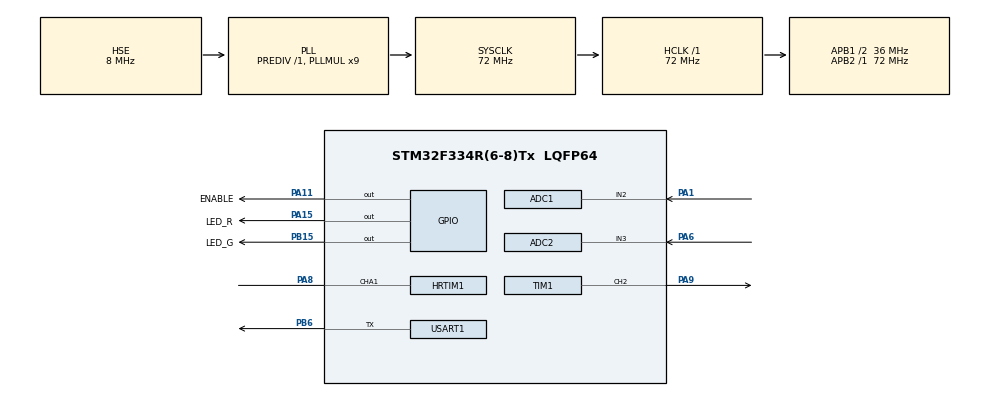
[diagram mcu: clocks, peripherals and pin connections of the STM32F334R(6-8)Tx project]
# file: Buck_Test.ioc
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ADC1.Channel-1\#ChannelRegularConversion=ADC_CHANNEL_2
ADC1.NbrOfConversionFlag=1
ADC1.SamplingTime-1\#ChannelRegularConversion=ADC_SAMPLETIME_181CYCLES_5
ADC1.SamplingTimeOPAMP-1\#ChannelRegularConversion=ADC_SAMPLETIME_61CYCLES_5
ADC1.SubFamily=STM32F334x8
ADC1.master=1
ADC2.Channel-0\#ChannelRegularConversion=ADC_CHANNEL_3
ADC2.ExternalTrigConv=ADC_EXTERNALTRIGCONVHRTIM_TRG1
ADC2.NbrOfConversionFlag=1
ADC2.Rank1_Channel=ADC_CHANNEL_3
ADC2.SamplingTime-0\#ChannelRegularConversion=ADC_SAMPLETIME_181CYCLES_5
ADC2.SubFamily=STM32F334x8
Dma.ADC2.0.Direction=DMA_PERIPH_TO_MEMORY
Dma.ADC2.0.Instance=DMA1_Channel2
Dma.ADC2.0.MemDataAlignment=DMA_MDATAALIGN_HALFWORD
Dma.ADC2.0.MemInc=DMA_MINC_ENABLE
Dma.ADC2.0.Mode=DMA_NORMAL
Dma.ADC2.0.PeriphDataAlignment=DMA_PDATAALIGN_HALFWORD
Dma.ADC2.0.PeriphInc=DMA_PINC_DISABLE
Dma.ADC2.0.Priority=DMA_PRIORITY_LOW
Dma.Request0=ADC2
Dma.Request1=USART1_TX
Dma.USART1_TX.1.Direction=DMA_MEMORY_TO_PERIPH
Dma.USART1_TX.1.Instance=DMA1_Channel4
Dma.USART1_TX.1.MemDataAlignment=DMA_MDATAALIGN_BYTE
Dma.USART1_TX.1.MemInc=DMA_MINC_ENABLE
Dma.USART1_TX.1.Mode=DMA_NORMAL
Dma.USART1_TX.1.PeriphDataAlignment=DMA_PDATAALIGN_BYTE
Dma.USART1_TX.1.PeriphInc=DMA_PINC_DISABLE
Dma.USART1_TX.1.Priority=DMA_PRIORITY_LOW
HRTIM1.ADCTrigger1_Source1=HRTIM_ADCTRIGGEREVENT13_TIMERA_CMP3
HRTIM1.ADCTrigger_Id1=HRTIM_ADCTRIGGER_1
HRTIM1.CompareUnit1-Output_TA1=HRTIM_COMPAREUNIT_1
HRTIM1.CompareUnit2-Output_TA1=__NULL
HRTIM1.CompareUnit3-Output_TA1=HRTIM_COMPAREUNIT_3
HRTIM1.CompareValue1-Output_TA1=192
HRTIM1.CompareValue3-Output_TA1=96
HRTIM1.NumberADCTriggerSource1=1
HRTIM1.NumberResetSource1-Output_TA1=1
HRTIM1.NumberSetSource1-Output_TA1=1
HRTIM1.Periode_TA=11520
HRTIM1.PreloadEnable-Output_TA1=HRTIM_PRELOAD_ENABLED
HRTIM1.RepetitionUpdate-Output_TA1=HRTIM_UPDATEONREPETITION_ENABLED
HRTIM1.ResetOutput1_Source1-Output_TA1=HRTIM_OUTPUTRESET_TIMCMP1
HRTIM1.SetOutput1_Source1-Output_TA1=HRTIM_OUTPUTSET_TIMPER
Mcu.Family=STM32F3
Mcu.Name=STM32F334R(6-8)Tx
Mcu.Package=LQFP64
NVIC.ADC1_2_IRQn=true\:0\:0\:false\:false\:true\:true\:true\:true
NVIC.DMA1_Channel2_IRQn=true\:0\:0\:false\:false\:true\:false\:true\:true
NVIC.DMA1_Channel4_IRQn=true\:0\:0\:false\:false\:true\:false\:true\:true
NVIC.HRTIM1_TIMA_IRQn=true\:0\:0\:false\:false\:true\:true\:true\:true
NVIC.PriorityGroup=NVIC_PRIORITYGROUP_4
NVIC.TIM6_DAC1_IRQn=true\:0\:0\:false\:false\:true\:true\:true\:true
NVIC.USART1_IRQn=true\:0\:0\:false\:false\:true\:true\:true\:true
PA1.Mode=IN2-Single-Ended
PA1.Signal=ADC1_IN2
PA11.GPIO_Label=ENABLE
PA11.PinState=GPIO_PIN_SET
PA11.Signal=GPIO_Output
PA13.Mode=Serial_Wire
PA13.Signal=SYS_JTMS-SWDIO
PA14.Mode=Serial_Wire
PA14.Signal=SYS_JTCK-SWCLK
PA15.GPIO_Label=LED_R
PA15.PinState=GPIO_PIN_SET
PA15.Signal=GPIO_Output
PA6.Mode=IN3-Single-Ended
PA6.Signal=ADC2_IN3
PA8.Mode=Output_TA1
PA8.Signal=HRTIM1_CHA1
PA9.Signal=S_TIM1_CH2
PB15.GPIO_Label=LED_G
PB15.Signal=GPIO_Output
PB6.GPIO_FM6=__NULL
PB6.GPIO_ModeDefaultOD=GPIO_MODE_AF_OD
PB6.GPIO_PuPd=GPIO_PULLUP
PB6.GPIO_Speed=GPIO_SPEED_FREQ_HIGH
PB6.Mode=Half_duplex(single_wire_mode)
PB6.Signal=USART1_TX
PF0\ /\ OSC_IN.Mode=HSE-External-Oscillator
PF0\ /\ OSC_IN.Signal=RCC_OSC_IN
PF1\ /\ OSC_OUT.Mode=HSE-External-Oscillator
PF1\ /\ OSC_OUT.Signal=RCC_OSC_OUT
ProjectManager.HeapSize=0x200
ProjectManager.StackSize=0x400
ProjectManager.TargetToolchain=Makefile
RCC.AHBFreq_Value=72000000
RCC.APB1CLKDivider=RCC_HCLK_DIV2
RCC.APB1Freq_Value=36000000
RCC.APB1TimFreq_Value=72000000
RCC.APB2Freq_Value=72000000
RCC.APB2TimFreq_Value=72000000
RCC.CortexFreq_Value=72000000
RCC.HCLKFreq_Value=72000000
RCC.HRTIMSelection=RCC_HRTIM1CLK_PLLCLK
RCC.HSI_VALUE=8000000
RCC.LSE_VALUE=32768
RCC.PLLMUL=RCC_PLL_MUL9
RCC.PLLSourceVirtual=RCC_PLLSOURCE_HSE
RCC.SYSCLKFreq_VALUE=72000000
RCC.SYSCLKSourceVirtual=RCC_SYSCLKSOURCE_PLLCLK
SH.S_TIM1_CH2.0=TIM1_CH2,PWM Generation2 CH2
TIM1.AutoReloadPreload=TIM_AUTORELOAD_PRELOAD_ENABLE
TIM1.Channel-PWM\ Generation2\ CH2=TIM_CHANNEL_2
TIM1.Period=720
TIM6.Period=1000
TIM6.Prescaler=36000
USART1.BaudRate=250000
USART1.Mode=MODE_TX
USART1.VirtualMode-Half_duplex(single_wire_mode)=VM_ASYNC
VP_TIM1_VS_ClockSourceINT.Mode=Internal
VP_TIM6_VS_ClockSourceINT.Mode=Enable_Timer
board=custom

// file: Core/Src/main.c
/* USER CODE BEGIN Header */
/**
 ******************************************************************************
 * @file           : main.c
 * @brief          : Main program body
 ******************************************************************************
 * @attention
 *
 * Copyright (c) 2024 STMicroelectronics.
 * All rights reserved.
 *
 * This software is licensed under terms that can be found in the LICENSE file
 * in the root directory of this software component.
 * If no LICENSE file comes with this software, it is provided AS-IS.
 *
 ******************************************************************************
 */
/* USER CODE END Header */
#include "main.h"
#include "adc.h"
#include "dma.h"
#include "gpio.h"
#include "hrtim.h"
#include "tim.h"
#include "usart.h"

/* USER CODE BEGIN PV */

uint32_t adc2_dma_buffer[1] = {0};
char buffer[6];

/* USER CODE END PV */

void SystemClock_Config(void);
/* USER CODE BEGIN PFP */

void HAL_TIM_PeriodElapsedCallback(TIM_HandleTypeDef *htim) {
  if (htim->Instance == TIM6) {
    uint8_t bufferIndex = 0;
    // if (adc2_dma_buffer[0] >= 1000) {
    buffer[bufferIndex++] = adc2_dma_buffer[0] / 1000 + 48;
    //}
    // if (adc2_dma_buffer[0] >= 100) {
    buffer[bufferIndex++] = (adc2_dma_buffer[0] % 1000) / 100 + 48;
    //}
    // if (adc2_dma_buffer[0] >= 10) {
    buffer[bufferIndex++] = (adc2_dma_buffer[0] % 100) / 10 + 48;
    //}
    buffer[bufferIndex++] = adc2_dma_buffer[0] % 10 + 48;
    buffer[bufferIndex++] = '\n';
    buffer[bufferIndex] = 0;
    HAL_UART_Transmit_DMA(&huart1, (uint8_t *)buffer, bufferIndex);
  }
}

/* USER CODE END PFP */

int main(void) {

  /* MCU Configuration--------------------------------------------------------*/

  /* Reset of all peripherals, Initializes the Flash interface and the Systick.
   */
  HAL_Init();

  /* Configure the system clock */
  SystemClock_Config();

  /* Initialize all configured peripherals */
  MX_GPIO_Init();
  MX_DMA_Init();
  MX_HRTIM1_Init();
  MX_ADC1_Init();
  MX_ADC2_Init();
  MX_USART1_UART_Init();
  MX_TIM1_Init();
  MX_TIM6_Init();
  /* USER CODE BEGIN 2 */

  HAL_Delay(10);
  HAL_ADCEx_Calibration_Start(&hadc1, ADC_SINGLE_ENDED);
  HAL_ADCEx_Calibration_Start(&hadc2, ADC_SINGLE_ENDED);

  HAL_Delay(500);

  HAL_ADC_Start_DMA(&hadc2, adc2_dma_buffer, 1);

  // Start HRTIM
  HAL_HRTIM_WaveformOutputStart(&hhrtim1, HRTIM_OUTPUT_TA1);
  HAL_HRTIM_WaveformCounterStart(&hhrtim1, HRTIM_TIMERID_TIMER_A);

  // uint16_t compare = 100; // 0 ~ 11520

  HRTIM_CompareCfgTypeDef conf = {0};

  conf.CompareValue = 1920;
  HAL_HRTIM_WaveformCompareConfig(&hhrtim1, HRTIM_TIMERINDEX_TIMER_A,
                                  HRTIM_COMPAREUNIT_1, &conf);

  conf.CompareValue = 960;
  HAL_HRTIM_WaveformCompareConfig(&hhrtim1, HRTIM_TIMERINDEX_TIMER_A,
                                  HRTIM_COMPAREUNIT_3, &conf);

  HAL_TIM_PWM_Start(&htim1, TIM_CHANNEL_2);
  __HAL_TIM_SET_COMPARE(&htim1, TIM_CHANNEL_2, 360); // 0~720

  HAL_TIM_Base_Start_IT(&htim6);

  /* USER CODE END 2 */

  /* Infinite loop */
  while (1) {

  }
}

void SystemClock_Config(void) {
  RCC_OscInitTypeDef RCC_OscInitStruct = {0};
  RCC_ClkInitTypeDef RCC_ClkInitStruct = {0};
  RCC_PeriphCLKInitTypeDef PeriphClkInit = {0};

  /** Initializes the RCC Oscillators according to the specified parameters
   * in the RCC_OscInitTypeDef structure.
   */
  RCC_OscInitStruct.OscillatorType = RCC_OSCILLATORTYPE_HSE;
  RCC_OscInitStruct.HSEState = RCC_HSE_ON;
  RCC_OscInitStruct.HSEPredivValue = RCC_HSE_PREDIV_DIV1;
  RCC_OscInitStruct.HSIState = RCC_HSI_ON;
  RCC_OscInitStruct.PLL.PLLState = RCC_PLL_ON;
  RCC_OscInitStruct.PLL.PLLSource = RCC_PLLSOURCE_HSE;
  RCC_OscInitStruct.PLL.PLLMUL = RCC_PLL_MUL9;
  if (HAL_RCC_OscConfig(&RCC_OscInitStruct) != HAL_OK) {
    Error_Handler();
  }

  /** Initializes the CPU, AHB and APB buses clocks
   */
  RCC_ClkInitStruct.ClockType = RCC_CLOCKTYPE_HCLK | RCC_CLOCKTYPE_SYSCLK |
                                RCC_CLOCKTYPE_PCLK1 | RCC_CLOCKTYPE_PCLK2;
  RCC_ClkInitStruct.SYSCLKSource = RCC_SYSCLKSOURCE_PLLCLK;
  RCC_ClkInitStruct.AHBCLKDivider = RCC_SYSCLK_DIV1;
  RCC_ClkInitStruct.APB1CLKDivider = RCC_HCLK_DIV2;
  RCC_ClkInitStruct.APB2CLKDivider = RCC_HCLK_DIV1;

  if (HAL_RCC_ClockConfig(&RCC_ClkInitStruct, FLASH_LATENCY_2) != HAL_OK) {
    Error_Handler();
  }
  PeriphClkInit.PeriphClockSelection = RCC_PERIPHCLK_HRTIM1 |
                                       RCC_PERIPHCLK_USART1 |
                                       RCC_PERIPHCLK_TIM1 | RCC_PERIPHCLK_ADC12;
  PeriphClkInit.Usart1ClockSelection = RCC_USART1CLKSOURCE_PCLK1;
  PeriphClkInit.Adc12ClockSelection = RCC_ADC12PLLCLK_DIV1;
  PeriphClkInit.Tim1ClockSelection = RCC_TIM1CLK_HCLK;
  PeriphClkInit.Hrtim1ClockSelection = RCC_HRTIM1CLK_PLLCLK;
  if (HAL_RCCEx_PeriphCLKConfig(&PeriphClkInit) != HAL_OK) {
    Error_Handler();
  }
}

void Error_Handler(void) {
  __disable_irq();
  while (1) {
  }
}

#ifdef USE_FULL_ASSERT
/**
 * @brief  Reports the name of the source file and the source line number
 *         where the assert_param error has occurred.
 * @param  file: pointer to the source file name
 * @param  line: assert_param error line source number
 * @retval None
 */
void assert_failed(uint8_t *file, uint32_t line) {
  /* USER CODE BEGIN 6 */
  /* User can add his own implementation to report the file name and line
     number, ex: printf("Wrong parameters value: file %s on line %d\r\n", file,
     line) */
  /* USER CODE END 6 */
}
#endif /* USE_FULL_ASSERT */
